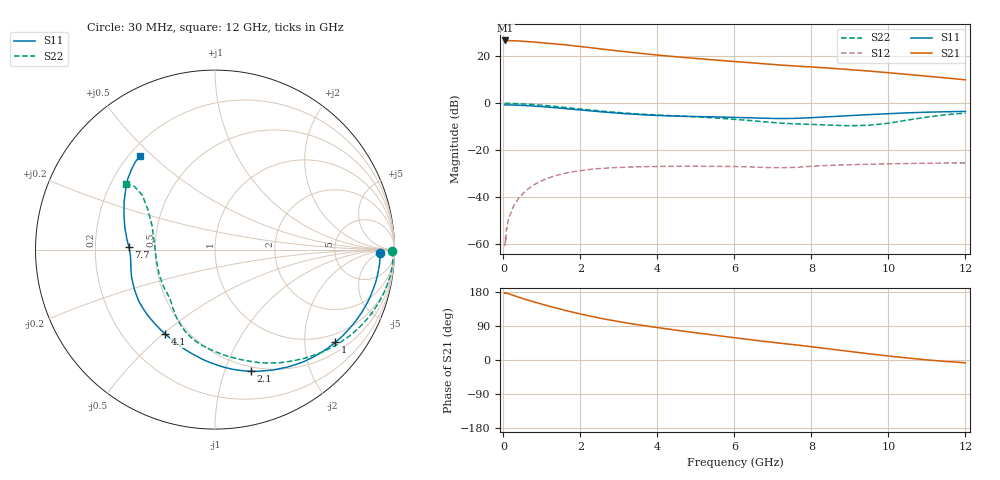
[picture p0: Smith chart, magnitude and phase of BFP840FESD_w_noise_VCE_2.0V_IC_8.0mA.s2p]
! Infineon Technologies  Discrete & RF Semiconductors
! BFP840FESD
! VCE =  2.0 V,  IC =  8.0 mA
! Common Emitter S-Parameters:  May 2012
# GHz  S  MA  R  50
!  f  S11  S21  S12  S22
! GHz  MAG  ANG  MAG  ANG  MAG  ANG  MAG  ANG
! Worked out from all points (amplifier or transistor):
!   103 points, 30 MHz to 12 GHz, reference 50 ohm
!   highest |S21| = 26.8 dB at 50 MHz (marker M1)
!   |S21| within 3 dB of that: start of sweep to 2.221 GHz
!   unconditionally stable (mu >= 1): 6.656 GHz to end of sweep
!   at 400 MHz: K = 0.10, MSG = 33.4 dB, |S12| = -40.4 dB
!   at 3.7 GHz: K = 0.47, MSG = 24.0 dB, |S12| = -27.0 dB
!   at 12 GHz: K = 1.18, MAG = 15.2 dB, |S12| = -25.4 dB
!   lowest NFmin = 0.61 dB at 450 MHz
!   S11 on the Smith chart (normalised r, x): 30 MHz: 23, -5; 1 GHz: 0.75, -2.75; 2.1 GHz: 0.45, -1.23; 4.1 GHz: 0.38, -0.51; 7.7 GHz: 0.35, +0.01; 12 GHz: 0.24, +0.46
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0.03  0.9213 -1.1  21.72 176.4  0.0009 89.7  0.9876 -0.5
0.04  0.9216 -1.6  21.71 176.2  0.001 59.6  0.9896 -0.9
0.05  0.9199 -2.0  21.78 177.5  0.0014 56.5  0.9915 -1.2
0.12  0.92 -4.7  21.65 175.4  0.0032 82.6  0.9922 -3.5
0.3  0.9129 -11.8  21.43 169.0  0.0072 81.1  0.9849 -9.2
0.6  0.8896 -23.1  20.63 159.0  0.0141 73.8  0.9578 -18.2
0.8  0.8688 -30.5  20.19 153.0  0.0183 69.5  0.9341 -24.0
1  0.8467 -37.6  19.44 147.3  0.0224 64.9  0.9067 -29.6
1.3  0.8092 -48.1  18.5 138.9  0.0278 58.8  0.8618 -37.8
1.6  0.7689 -58.4  17.68 131.0  0.0322 52.6  0.8142 -45.7
2.1  0.7065 -73.7  15.84 119.1  0.0377 44.0  0.739 -58.0
2.5  0.6613 -84.6  14.49 110.6  0.0406 37.9  0.6874 -66.6
3.1  0.6029 -99.5  12.75 99.5  0.0432 31.3  0.6243 -77.8
3.6  0.5698 -110.4  11.49 91.5  0.0443 27.0  0.5851 -85.9
4.1  0.5457 -120.7  10.46 84.2  0.0451 23.7  0.5562 -92.9
5  0.5213 -137.7  9.005 71.8  0.0455 19.4  0.5117 -104.1
6.1  0.4965 -156.1  7.648 57.6  0.0447 16.1  0.4483 -117.0
7.7  0.4795 178.4  6.131 38.7  0.0437 21.7  0.3607 -137.9
8.5  0.5183 166.0  5.582 28.8  0.0476 22.0  0.3413 -155.6
9.5  0.5727 152.1  4.847 16.4  0.0501 20.8  0.3396 174.1
10.5  0.6248 141.2  4.117 5.3  0.052 20.1  0.4381 148.9
12  0.6695 128.8  3.157 -7.3  0.0534 20.8  0.6167 143.6
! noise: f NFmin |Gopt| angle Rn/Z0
0.45  0.61  0.39  5  0.15
0.9  0.64  0.38  12  0.15
1.5  0.65  0.35  17  0.14
1.9  0.66  0.31  26  0.15
2.4  0.68  0.3  34  0.15
3.5  0.7  0.28  55  0.15
5.5  0.76  0.19  96  0.12
8  0.89  0.16  156  0.12
10  1.03  0.24  -142  0.12
12  1.25  0.41  -119  0.13
